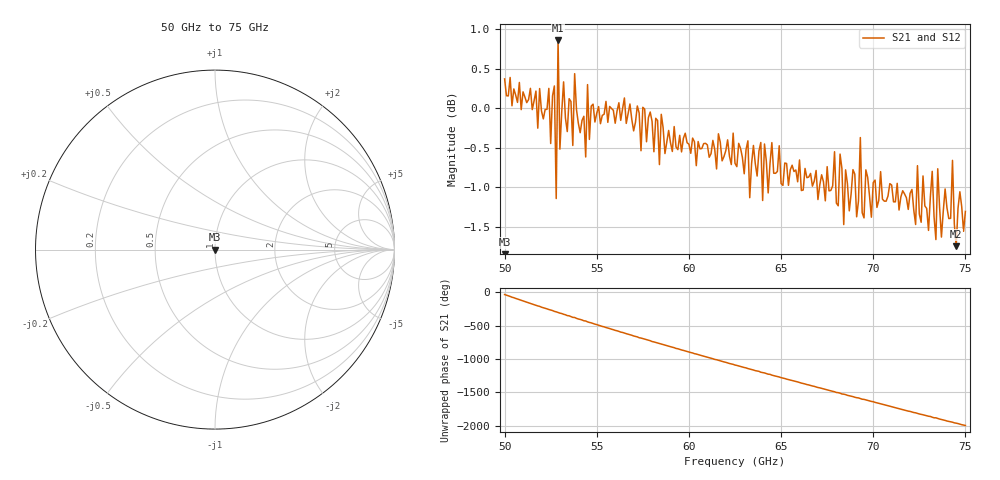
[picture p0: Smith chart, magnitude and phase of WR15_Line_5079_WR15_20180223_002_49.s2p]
# GHZ S RI R 50
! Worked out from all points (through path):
!   251 points, 50 GHz to 75 GHz, reference 50 ohm
!   highest |S21| = 0.85 dB at 52.9 GHz (marker M1); lowest = -1.7 dB at 74.5 GHz (marker M2)
!   lowest |S11| = - dB at 50 GHz (marker M3), VSWR 1.00, Z = 50 + j1.47e-15 ohm
!   |S11| at or under -10 dB: start of sweep to end of sweep
!   |S22| runs from - to - dB; largest |S21 - S12| = 1.4e-15
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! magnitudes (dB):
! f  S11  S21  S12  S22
! 50 GHz  -  0.4  0.4  -
! 52.4 GHz  -  0.2  0.2  -
! 52.5 GHz  -  -0.4  -0.4  -
! 52.7 GHz  -  0.3  0.3  -
! 52.8 GHz  -  -1.1  -1.1  -
! 52.9 GHz  -  0.9  0.9  -
! 53 GHz  -  -0.5  -0.5  -
! 53.2 GHz  -  0.3  0.3  -
! 54.2 GHz  -  -0.2  -0.2  -
! 58.4 GHz  -  -0.7  -0.7  -
! 62.5 GHz  -  -0.7  -0.7  -
! 66.7 GHz  -  -1.0  -1.0  -
! 70.9 GHz  -  -1.0  -1.0  -
! 72.4 GHz  -  -0.7  -0.7  -
! 73 GHz  -  -1.5  -1.5  -
! 73.2 GHz  -  -0.8  -0.8  -
! 73.4 GHz  -  -1.7  -1.7  -
! 73.5 GHz  -  -0.8  -0.8  -
! 73.7 GHz  -  -1.6  -1.6  -
! 74.3 GHz  -  -0.7  -0.7  -
! 74.5 GHz  -  -1.7  -1.7  -
! 75 GHz  -  -1.3  -1.3  -
